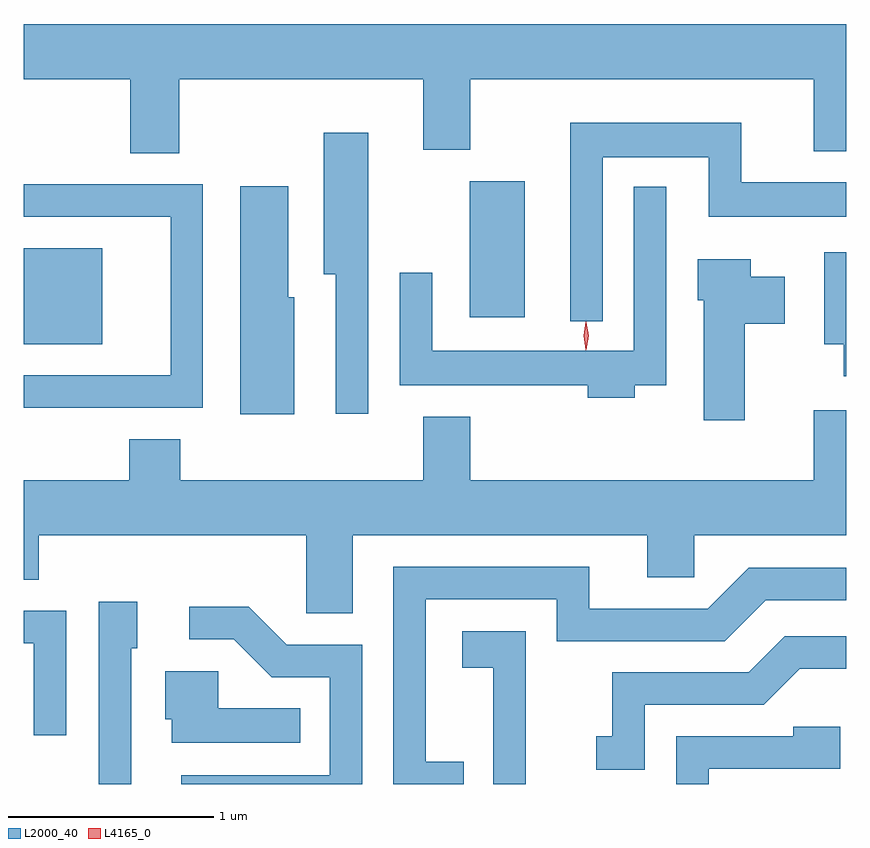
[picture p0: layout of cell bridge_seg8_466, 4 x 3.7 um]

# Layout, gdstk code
import gdstk
lib = gdstk.Library(unit=1e-6, precision=1e-09)
def R(c, l, rs):  # rectangles x0, y0, x1, y1
    for r in rs: c.add(gdstk.rectangle(r[:2], r[2:], *l))
def P(c, l, *ps):  # polygons
    for p in ps: c.add(gdstk.Polygon(p, *l))
L2000_40 = (2000, 40)
L4165_0 = (4165, 0)

bridge_seg8_466 = lib.new_cell('bridge_seg8_466')
R(bridge_seg8_466, L2000_40, [(525.008,1930.586,525.389,1931.054), (527.176,1930.716,527.444,1931.379)])
P(bridge_seg8_466, L2000_40, [(525.764,1931.876),(526.951,1931.876),(526.951,1931.531),(527.179,1931.531),(527.179,1931.876),(528.851,1931.876),(528.851,1931.526),(529.008,1931.526),(529.008,1932.144),(525.008,1932.144),(525.008,1931.876),(525.526,1931.876),(525.526,1931.516),(525.764,1931.516)],
  [(527.824,1931.496),(528.341,1931.496),(528.341,1931.206),(529.008,1931.206),(529.008,1931.374),(528.499,1931.374),(528.499,1931.664),(527.666,1931.664),(527.666,1930.698),(527.824,1930.698)],
  [(526.684,1931.614),(526.466,1931.614),(526.466,1930.926),(526.526,1930.926),(526.526,1930.248),(526.684,1930.248)],
  [(525.879,1931.364),(525.008,1931.364),(525.008,1931.206),(525.721,1931.206),(525.721,1930.434),(525.008,1930.434),(525.008,1930.276),(525.879,1930.276)],
  [(526.324,1930.814),(526.294,1930.814),(526.294,1931.354),(526.061,1931.354),(526.061,1930.246),(526.324,1930.246)],
  [(527.979,1930.386),(528.134,1930.386),(528.134,1931.353),(527.976,1931.353),(527.976,1930.554),(526.994,1930.554),(526.994,1930.933),(526.836,1930.933),(526.836,1930.386),(527.751,1930.386),(527.751,1930.326),(527.979,1930.326)],
  [(529.008,1931.034),(528.901,1931.034),(528.901,1930.586),(528.996,1930.586),(528.996,1930.431),(529.008,1930.431)],
  [(528.514,1930.686),(528.709,1930.686),(528.709,1930.914),(528.544,1930.914),(528.544,1930.999),(528.286,1930.999),(528.286,1930.801),(528.316,1930.801),(528.316,1930.216),(528.514,1930.216)],
  [(526.609,1929.656),(528.041,1929.656),(528.041,1929.451),(528.269,1929.451),(528.269,1929.656),(529.008,1929.656),(529.008,1930.264),(528.851,1930.264),(528.851,1929.924),(527.179,1929.924),(527.179,1930.234),(526.951,1930.234),(526.951,1929.924),(525.769,1929.924),(525.769,1930.124),(525.521,1930.124),(525.521,1929.924),(525.008,1929.924),(525.008,1929.441),(525.079,1929.441),(525.079,1929.656),(526.381,1929.656),(526.381,1929.276),(526.609,1929.276)],
  [(527.148,1928.554),(526.964,1928.554),(526.964,1929.346),(527.601,1929.346),(527.601,1929.141),(528.417,1929.141),(528.617,1929.341),(529.008,1929.341),(529.008,1929.499),(528.534,1929.499),(528.334,1929.299),(527.759,1929.299),(527.759,1929.504),(526.806,1929.504),(526.806,1928.446),(527.148,1928.446)],
  [(525.529,1929.106),(525.559,1929.106),(525.559,1929.334),(525.371,1929.334),(525.371,1928.446),(525.529,1928.446)],
  [(526.654,1929.124),(526.287,1929.124),(526.102,1929.309),(525.813,1929.309),(525.813,1929.151),(526.029,1929.151),(526.214,1928.966),(526.496,1928.966),(526.496,1928.489),(525.773,1928.489),(525.773,1928.446),(526.654,1928.446)],
  [(525.214,1929.289),(525.008,1929.289),(525.008,1929.131),(525.056,1929.131),(525.056,1928.683),(525.214,1928.683)],
  [(527.449,1929.189),(527.141,1929.189),(527.141,1929.011),(527.291,1929.011),(527.291,1928.446),(527.449,1928.446)],
  [(528.029,1928.831),(528.607,1928.831),(528.782,1929.006),(529.008,1929.006),(529.008,1929.164),(528.709,1929.164),(528.534,1928.989),(527.871,1928.989),(527.871,1928.679),(527.793,1928.679),(527.793,1928.516),(528.029,1928.516)],
  [(526.353,1928.814),(525.954,1928.814),(525.954,1928.994),(525.696,1928.994),(525.696,1928.761),(525.726,1928.761),(525.726,1928.646),(526.353,1928.646)],
  [(528.339,1928.521),(528.979,1928.521),(528.979,1928.724),(528.751,1928.724),(528.751,1928.679),(528.181,1928.679),(528.181,1928.446),(528.339,1928.446)])
P(bridge_seg8_466, L4165_0, [(527.742,1930.557),(527.742,1930.558),(527.732,1930.627),(527.742,1930.696),(527.742,1930.696),(527.743,1930.696),(527.752,1930.627),(527.743,1930.558)],
  [(527.745,1930.559),(527.744,1930.56),(527.735,1930.626),(527.744,1930.692),(527.745,1930.693),(527.745,1930.692),(527.755,1930.626),(527.745,1930.56)])

lib.write_gds('bridge_seg8_466.gds')
